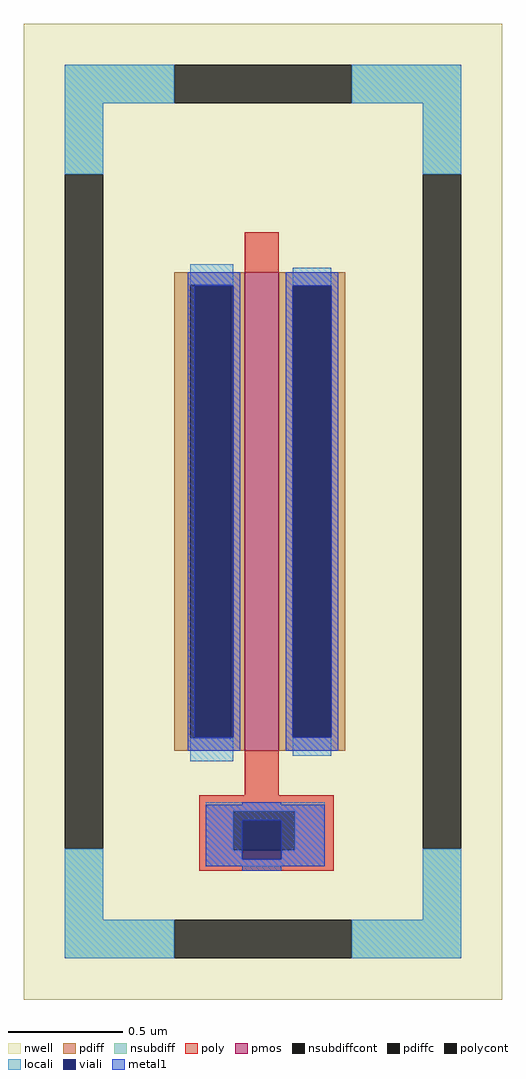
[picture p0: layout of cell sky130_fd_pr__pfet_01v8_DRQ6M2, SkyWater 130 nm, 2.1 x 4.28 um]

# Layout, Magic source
magic
tech sky130B
magscale 1 2
<< nwell >>
rect -210 -428 210 428
<< pmos >>
rect -16 -210 14 210
<< pdiff >>
rect -78 199 -16 210
rect -78 -199 -64 199
rect -28 -199 -16 199
rect -78 -210 -16 -199
rect 14 198 72 210
rect 14 -198 26 198
rect 60 -198 72 198
rect 14 -210 72 -198
<< pdiffc >>
rect -64 -199 -28 199
rect 26 -198 60 198
<< nsubdiff >>
rect -174 358 -78 392
rect 78 358 174 392
rect -174 296 -140 358
rect 140 296 174 358
rect -174 -358 -140 -296
rect 140 -358 174 -296
rect -174 -392 -78 -358
rect 78 -392 174 -358
<< nsubdiffcont >>
rect -78 358 78 392
rect -174 -296 -140 296
rect 140 -296 174 296
rect -78 -392 78 -358
<< poly >>
rect -16 210 14 245
rect -16 -249 14 -210
rect -56 -263 62 -249
rect -56 -297 -26 -263
rect 28 -297 62 -263
rect -56 -315 62 -297
<< polycont >>
rect -26 -297 28 -263
<< locali >>
rect -174 358 -78 392
rect 78 358 174 392
rect -174 296 -140 358
rect 140 296 174 358
rect -64 199 -26 217
rect -28 198 -26 199
rect -28 -199 -26 -198
rect -64 -219 -26 -199
rect 26 198 60 214
rect 26 -214 60 -198
rect -174 -358 -140 -296
rect -50 -263 54 -255
rect -50 -297 -26 -263
rect 28 -297 54 -263
rect -50 -305 -18 -297
rect 16 -305 54 -297
rect -50 -311 54 -305
rect 140 -358 174 -296
rect -174 -392 -78 -358
rect 78 -392 174 -358
<< viali >>
rect -60 -198 -28 198
rect -28 -198 -26 198
rect 26 -198 60 198
rect -18 -297 16 -271
rect -18 -305 16 -297
<< metal1 >>
rect -66 198 -20 210
rect -66 -198 -60 198
rect -26 -198 -20 198
rect -66 -210 -20 -198
rect 20 198 66 210
rect 20 -198 26 198
rect 60 -198 66 198
rect 20 -210 66 -198
rect -18 -257 16 -255
rect -50 -271 54 -257
rect -50 -305 -18 -271
rect 16 -305 54 -271
rect -50 -311 54 -305
rect -18 -315 16 -311
<< properties >>
string FIXED_BBOX -158 -376 158 376
string gencell sky130_fd_pr__pfet_01v8
string library sky130
string parameters w 2.1 l 0.15 m 1 nf 1 diffcov 100 polycov 100 guard 1 glc 1 grc 1 gtc 1 gbc 1 tbcov 100 rlcov 100 topc 1 botc 1 poverlap 0 doverlap 1 lmin 0.15 wmin 0.42 class mosfet compatible {sky130_fd_pr__pfet_01v8  sky130_fd_pr__pfet_01v8_lvt sky130_fd_pr__pfet_01v8_hvt  sky130_fd_pr__pfet_g5v0d10v5} full_metal 1 viasrc 100 viadrn 100 viagate 100 viagb 0 viagr 0 viagl 0 viagt 0
<< end >>
